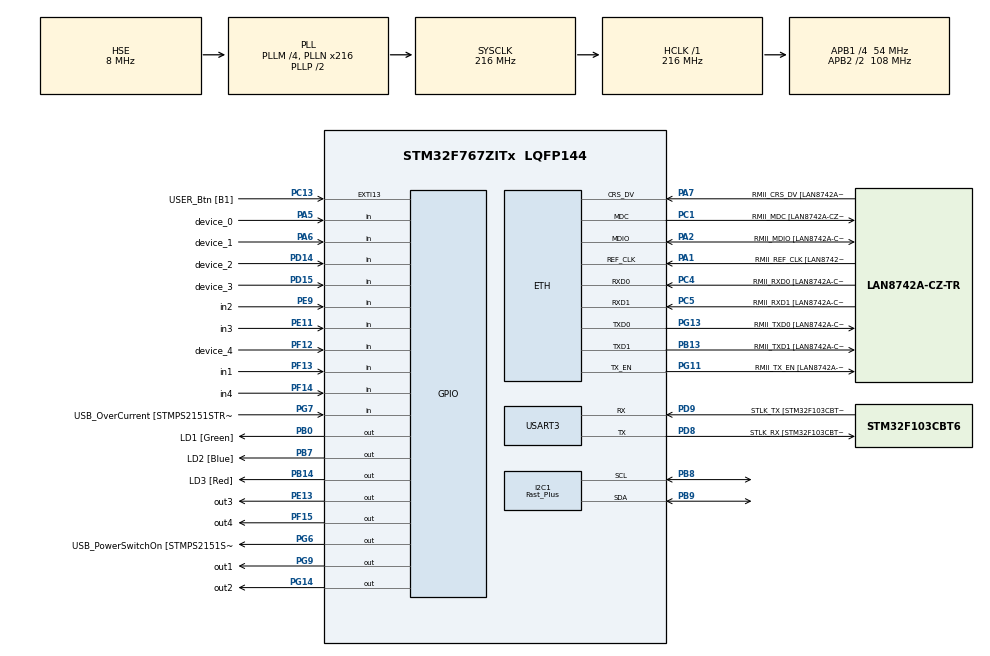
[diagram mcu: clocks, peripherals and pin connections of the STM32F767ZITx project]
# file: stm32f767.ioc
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I2C1.I2C_Speed_Mode=I2C_Fast_Plus
PB14.GPIO_Label=LD3 [Red]
PG6.GPIO_Label=USB_PowerSwitchOn [STMPS2151STR_EN]
PA14.GPIO_Label=TCK
PA6.GPIO_Label=device_1
PC5.Mode=RMII
LWIP.LWIP_COMPAT_SOCKETS=0
PB13.Signal=ETH_TXD1
PG13.Signal=ETH_TXD0
RCC.SYSCLKSource=RCC_SYSCLKSOURCE_PLLCLK
LWIP.NETMASK_ADDRESS=255.255.255.000
USART3.VirtualMode-Asynchronous=VM_ASYNC
RCC.APB2TimFreq_Value=216000000
PH1/OSC_OUT.Signal=RCC_OSC_OUT
PD8.Signal=USART3_TX
LWIP.LWIP_SOCKET_OFFSET=1
PF12.GPIO_Label=device_4
PC4.GPIO_Label=RMII_RXD0 [LAN8742A-CZ-TR_RXD0]
PE9.Signal=GPIO_Input
PA8.Signal=USB_OTG_FS_SOF
ETH.PHY_Name=LAN8742A_PHY_ADDRESS
Mcu.Package=LQFP144
PB9.Signal=I2C1_SDA
NVIC.TimeBase=TIM1_UP_TIM10_IRQn
NVIC.TimeBaseIP=TIM1
PA10.Signal=USB_OTG_FS_ID
RCC.APB2CLKDivider=RCC_HCLK_DIV2
PF14.Signal=GPIO_Input
RCC.APB1TimFreq_Value=108000000
PB13.Mode=RMII
PD15.Signal=GPIO_Input
PC4.Mode=RMII
LWIP.IP_ADDRESS=192.168.000.050
FREERTOS.Tasks01=defaultTask,24,2048,StartDefaultTask,Default,NULL,Dynamic,NULL,NULL;opcuaTask,16,8000,opcuaFunc,Default,NULL,Dynamic,NULL,NULL;ledTask,24,128,ledFunc,Default,NULL,Dynamic,NULL,NULL;displayTask,8,512,displayFunc,Default,NULL,Dynamic,NULL,NULL
PD9.GPIO_Label=STLK_TX [STM32F103CBT6_PA2]
PG9.Signal=GPIO_Output
PC13.Signal=GPXTI13
PA9.GPIO_Label=USB_VBUS
FREERTOS.configCHECK_FOR_STACK_OVERFLOW=1
PA11.GPIO_Label=USB_DM
PF14.GPIO_Label=in4
LWIP.LWIP_DHCP=0
RCC.APB1CLKDivider=RCC_HCLK_DIV4
PF13.GPIO_Label=in1
PG13.GPIO_Label=RMII_TXD0 [LAN8742A-CZ-TR_TXD0]
LWIP.DEFAULT_THREAD_STACKSIZE=4096
PA8.GPIO_Label=USB_SOF [TP1]
PA9.Signal=USB_OTG_FS_VBUS
I2C1.Timing=0x00200922
PE9.GPIO_Label=in2
PD8.Mode=Asynchronous
PB14.Signal=GPIO_Output
PA5.Signal=GPIO_Input
PA1.Mode=RMII
RCC.PRESCALERUSB=RCC_USBCLKSOURCE_PLL_DIV1_5
PG7.GPIO_Label=USB_OverCurrent [STMPS2151STR_FAULT]
PA1.GPIO_Label=RMII_REF_CLK [LAN8742A-CZ-TR_REFCLK0]
PF13.Signal=GPIO_Input
LWIP.SO_REUSE=1
PA13.Mode=Serial_Wire
PG14.GPIO_Label=out2
ETH.MediaInterface=ETH_MEDIA_INTERFACE_RMII
PE13.GPIO_Label=out3
PA5.GPIO_Label=device_0
PG11.Mode=RMII
PA11.Signal=USB_OTG_FS_DM
ProjectManager.HeapSize=0x200
LWIP.Version=v2.1.2_Cube
NVIC.TIM1_UP_TIM10_IRQn=true\:0\:0\:false\:false\:true\:false\:false\:true
NVIC.PriorityGroup=NVIC_PRIORITYGROUP_4
PB8.Mode=I2C
PC15/OSC32_OUT.Signal=RCC_OSC32_OUT
PB0.Signal=GPIO_Output
PC1.Signal=ETH_MDC
PC1.Mode=RMII
Mcu.Family=STM32F7
RCC.CortexFreq_Value=216000000
PG6.Signal=GPIO_Output
PE11.GPIO_Label=in3
RCC.SYSCLKSourceVirtual=RCC_SYSCLKSOURCE_PLLCLK
PB0.GPIO_Label=LD1 [Green]
PC14/OSC32_IN.Mode=LSE-External-Oscillator
PC13.GPIO_Label=USER_Btn [B1]
PB13.GPIO_Label=RMII_TXD1 [LAN8742A-CZ-TR_TXD1]
PD9.Mode=Asynchronous
PG11.Signal=ETH_TX_EN
ProjectManager.StackSize=0x400
VP_FREERTOS_VS_CMSIS_V2.Mode=CMSIS_V2
PA12.Signal=USB_OTG_FS_DP
Mcu.UserConstants=LWIP_TIMEVAL_PRIVATE,0
ETH.PHY_Value=0
PH0/OSC_IN.Mode=HSE-External-Clock-Source
RCC.HCLKFreq_Value=216000000
PF12.Signal=GPIO_Input
FREERTOS.configUSE_MALLOC_FAILED_HOOK=1
RCC.AHBFreq_Value=216000000
NVIC.ETH_IRQn=true\:6\:0\:true\:false\:true\:false\:false\:true
RCC.HSE_VALUE=8000000
LWIP.LWIP_SNMP=0
RCC.PLLMUL=RCC_PLL_MUL9
PE13.Signal=GPIO_Output
PA14.Mode=Serial_Wire
VP_SYS_VS_tim1.Mode=TIM1
PA10.GPIO_Label=USB_ID
PB7.Signal=GPIO_Output
PG13.Mode=RMII
PH1/OSC_OUT.Mode=HSE-External-Clock-Source
FREERTOS.configTOTAL_HEAP_SIZE=256000
PB7.GPIO_Label=LD2 [Blue]
PA6.Signal=GPIO_Input
PC14/OSC32_IN.Signal=RCC_OSC32_IN
PA2.GPIO_Label=RMII_MDIO [LAN8742A-CZ-TR_MDIO]
PG11.GPIO_Label=RMII_TX_EN [LAN8742A-CZ-TR_TXEN]
PC5.Signal=ETH_RXD1
PB3.GPIO_Label=SWO
RCC.PLLSourceVirtual=RCC_PLLSOURCE_HSE
PD15.GPIO_Label=device_3
PA7.Mode=RMII
PG7.Signal=GPIO_Input
PC4.Signal=ETH_RXD0
PD9.Signal=USART3_RX
ETH.PhyAddress=0
PA12.GPIO_Label=USB_DP
VP_LWIP_VS_Enabled.Mode=Enabled
LWIP.LWIP_DNS=1
PD8.GPIO_Label=STLK_RX [STM32F103CBT6_PA3]
PA13.Signal=SYS_JTMS-SWDIO
CORTEX_M7.MPU_Control=__NULL
ProjectManager.TargetToolchain=STM32CubeIDE
LWIP.LWIP_SNTP=0
LWIP.TCPIP_THREAD_STACKSIZE=4096
PB9.Mode=I2C
RCC.USBFreq_Value=48000000
PE11.Signal=GPIO_Input
PA1.Signal=ETH_REF_CLK
PG9.GPIO_Label=out1
PG14.Signal=GPIO_Output
board=NUCLEO-F767ZI
RCC.VCOOutputFreq_Value=432000000
PH0/OSC_IN.Signal=RCC_OSC_IN
RCC.APB2Freq_Value=108000000
LWIP.LWIP_SMTP=0
PC1.GPIO_Label=RMII_MDC [LAN8742A-CZ-TR_MDC]
PF15.GPIO_Label=out4
PF15.Signal=GPIO_Output
PD14.GPIO_Label=device_2
Mcu.Name=STM32F767ZITx
PA2.Signal=ETH_MDIO
PA13.GPIO_Label=TMS
PD14.Signal=GPIO_Input
RCC.48MHZClocksFreq_Value=24000000
PB3.Signal=SYS_JTDO-SWO
RCC.SYSCLKFreq_VALUE=216000000
PA7.GPIO_Label=RMII_CRS_DV [LAN8742A-CZ-TR_CRS_DV]
PC5.GPIO_Label=RMII_RXD1 [LAN8742A-CZ-TR_RXD1]
PC15/OSC32_OUT.Mode=LSE-External-Oscillator
PA14.Signal=SYS_JTCK-SWCLK
RCC.HSI_VALUE=16000000
PH0/OSC_IN.GPIO_Label=MCO [STM32F103CBT6_PA8]
RCC.PLLQ=9
RCC.PLLM=4
RCC.PLLN=216
PA2.Mode=RMII
PB8.Signal=I2C1_SCL
RCC.APB1Freq_Value=54000000
PA7.Signal=ETH_CRS_DV

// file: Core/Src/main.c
/* USER CODE BEGIN Header */
/**
  ******************************************************************************
  * @file           : main.c
  * @brief          : Main program body
  ******************************************************************************
  * @attention
  *
  * <h2><center>&copy; Copyright (c) 2020 STMicroelectronics.
  * All rights reserved.</center></h2>
  *
  * This software component is licensed by ST under BSD 3-Clause license,
  * the "License"; You may not use this file except in compliance with the
  * License. You may obtain a copy of the License at:
  *                        opensource.org/licenses/BSD-3-Clause
  *
  ******************************************************************************
  */
/* USER CODE END Header */
#include "main.h"
#include "cmsis_os.h"
#include "lwip.h"

/* USER CODE BEGIN Includes */
#include <errno.h>
#include <stdio.h>
#include <stdlib.h>
#include <sys/unistd.h>
#include "open62541.h"

#include "u8g2.h"
#include "u8x8_stm32_HAL.h"
/* USER CODE END Includes */

I2C_HandleTypeDef hi2c1;

UART_HandleTypeDef huart3;

/* Definitions for defaultTask */
osThreadId_t defaultTaskHandle;
const osThreadAttr_t defaultTask_attributes = {
  .name = "defaultTask",
  .priority = (osPriority_t) osPriorityNormal,
  .stack_size = 2048 * 4
};
/* Definitions for opcuaTask */
osThreadId_t opcuaTaskHandle;
const osThreadAttr_t opcuaTask_attributes = {
  .name = "opcuaTask",
  .priority = (osPriority_t) osPriorityBelowNormal,
  .stack_size = 8000 * 4
};
/* Definitions for ledTask */
osThreadId_t ledTaskHandle;
const osThreadAttr_t ledTask_attributes = {
  .name = "ledTask",
  .priority = (osPriority_t) osPriorityNormal,
  .stack_size = 128 * 4
};
/* Definitions for displayTask */
osThreadId_t displayTaskHandle;
const osThreadAttr_t displayTask_attributes = {
  .name = "displayTask",
  .priority = (osPriority_t) osPriorityLow,
  .stack_size = 512 * 4
};
/* USER CODE BEGIN PV */
static UA_Boolean running = true; // OPA-UA running

// OPC-UA Login data
static UA_UsernamePasswordLogin logins[2] = {
    {UA_STRING_STATIC("admin"), UA_STRING_STATIC("admin")},
    {UA_STRING_STATIC("root"), UA_STRING_STATIC("root")}
};

static u8g2_t u8g2; // for OLED display

extern uint8_t IP_ADDRESS[4]; // IP Address
/* USER CODE END PV */

void SystemClock_Config(void);
static void MX_GPIO_Init(void);
static void MX_USART3_UART_Init(void);
static void MX_I2C1_Init(void);
void StartDefaultTask(void *argument);
void opcuaFunc(void *argument);
void ledFunc(void *argument);
void displayFunc(void *argument);

/* USER CODE BEGIN 0 */

unsigned int deviceID = 0;

/**
  * @brief  Define the printf function.
  * @retval HAL_OK
  */
int _write(int file, char * data, int len) {
    if ((file != STDOUT_FILENO) && (file != STDERR_FILENO)) {
        errno = EBADF;
        return -1;
    }

    // arbitrary timeout 1
    HAL_StatusTypeDef status = HAL_OK;
    status = HAL_UART_Transmit( & huart3, (uint8_t * ) data, len, 100);

    // return # of bytes written - as best we can tell
    return (status == HAL_OK ? len : 0);
}

/* Function which responds for drawing  */
void u8g2_prepare()
{
    u8g2_SetFont(&u8g2, u8g2_font_profont10_tf);
    u8g2_SetFontRefHeightExtendedText(&u8g2);
    u8g2_SetDrawColor(&u8g2, 1);
    u8g2_SetFontPosTop(&u8g2);
    u8g2_SetFontDirection(&u8g2, 0);
}

void u8g2_disc_circle(uint8_t shift){
    char message[64];
    u8g2_SetFont(&u8g2, u8g2_font_profont15_tf);
    u8g2_DrawStr(&u8g2, 0, 0, "OPC/UA RemoteIO");
    u8g2_SetFont(&u8g2, u8g2_font_profont10_tf);
    snprintf(message, sizeof(message), "IP:      %03d.%03d.%03d.%03d",
	    IP_ADDRESS[0], IP_ADDRESS[1], IP_ADDRESS[2], IP_ADDRESS[3]);
    u8g2_DrawStr(&u8g2, 10, 15, message);
    snprintf(message, sizeof(message), "INPUTs:  %1d %1d %1d %1d",
	    HAL_GPIO_ReadPin(in1_GPIO_Port, in1_Pin),
	    HAL_GPIO_ReadPin(in2_GPIO_Port, in2_Pin),
	    HAL_GPIO_ReadPin(in3_GPIO_Port, in3_Pin),
	    HAL_GPIO_ReadPin(in4_GPIO_Port, in4_Pin));
   u8g2_DrawStr(&u8g2, 10, 25, message);
   snprintf(message, sizeof(message), "OUTPUTs: %1d %1d %1d %1d",
	    HAL_GPIO_ReadPin(out1_GPIO_Port, out1_Pin),
	    HAL_GPIO_ReadPin(out2_GPIO_Port, out2_Pin),
	    HAL_GPIO_ReadPin(out3_GPIO_Port, out3_Pin),
	    HAL_GPIO_ReadPin(out4_GPIO_Port, out4_Pin));
    u8g2_DrawStr(&u8g2, 10, 35, message);
    u8g2_DrawCircle(&u8g2,0+shift,20+32,2,U8G2_DRAW_ALL);
    u8g2_DrawCircle(&u8g2,5+shift,20+32,2,U8G2_DRAW_ALL);
    u8g2_DrawCircle(&u8g2,10+shift,20+32,2,U8G2_DRAW_ALL);
}

uint8_t max = 150;
uint8_t step = 0;
uint8_t picture =0;

void draw(void)
{
    u8g2_prepare();
    u8g2_disc_circle(step);
}

static void
addVariable(UA_Server *server) {
    /* Define the attribute of the myInteger variable node */
    UA_VariableAttributes attr = UA_VariableAttributes_default;
    UA_Int32 myInteger = 42;
    UA_Variant_setScalar(&attr.value, &myInteger, &UA_TYPES[UA_TYPES_INT32]);
    attr.description = UA_LOCALIZEDTEXT("en-US","STM32 OPC-UA Server");
    attr.displayName = UA_LOCALIZEDTEXT("en-US","STM32 OPC-UA Server");
    attr.dataType = UA_TYPES[UA_TYPES_INT32].typeId;
    attr.accessLevel = UA_ACCESSLEVELMASK_READ | UA_ACCESSLEVELMASK_WRITE;

    /* Add the variable node to the information model */
    UA_NodeId myIntegerNodeId = UA_NODEID_STRING(1, "stm32.opcua.server");
    UA_QualifiedName myIntegerName = UA_QUALIFIEDNAME(1, "stm32.opcua.server");
    UA_NodeId parentNodeId = UA_NODEID_NUMERIC(0, UA_NS0ID_OBJECTSFOLDER);
    UA_NodeId parentReferenceNodeId = UA_NODEID_NUMERIC(0, UA_NS0ID_ORGANIZES);
    UA_Server_addVariableNode(server, myIntegerNodeId, parentNodeId,
                              parentReferenceNodeId, myIntegerName,
                              UA_NODEID_NULL, attr, NULL, NULL);
}

/**
 * Now we change the value with the write service. This uses the same service
 * implementation that can also be reached over the network by an OPC UA client.
 */

static void
writeVariable(UA_Server *server) {
    UA_NodeId myIntegerNodeId = UA_NODEID_STRING(1, "stm32.opcua.server");

    /* Write a different integer value */
    UA_Int32 myInteger = 43;
    UA_Variant myVar;
    UA_Variant_init(&myVar);
    UA_Variant_setScalar(&myVar, &myInteger, &UA_TYPES[UA_TYPES_INT32]);
    UA_Server_writeValue(server, myIntegerNodeId, myVar);

    /* Set the status code of the value to an error code. The function
     * UA_Server_write provides access to the raw service. The above
     * UA_Server_writeValue is syntactic sugar for writing a specific node
     * attribute with the write service. */
    UA_WriteValue wv;
    UA_WriteValue_init(&wv);
    wv.nodeId = myIntegerNodeId;
    wv.attributeId = UA_ATTRIBUTEID_VALUE;
    wv.value.status = UA_STATUSCODE_BADNOTCONNECTED;
    wv.value.hasStatus = true;
    UA_Server_write(server, &wv);

    /* Reset the variable to a good statuscode with a value */
    wv.value.hasStatus = false;
    wv.value.value = myVar;
    wv.value.hasValue = true;
    UA_Server_write(server, &wv);
}

/* LED Method */

/**
  * @brief  Check the status of the RED LED
  * @retval UA_StatusCode
  */
UA_StatusCode
readLedRedState(UA_Server *server,
                const UA_NodeId *sessionId, void *sessionContext,
                const UA_NodeId *nodeId, void *nodeContext,
                UA_Boolean sourceTimeStamp, const UA_NumericRange *range,
                UA_DataValue *dataValue) {
    UA_Boolean ledred_State = HAL_GPIO_ReadPin(LD3_GPIO_Port, LD3_Pin);
    UA_Variant_setScalarCopy(&dataValue->value, &ledred_State,
                             &UA_TYPES[UA_TYPES_BOOLEAN]);
    dataValue->hasValue = true;
    return UA_STATUSCODE_GOOD;
}

/**
  * @brief  Check the status of Output 1
  * @retval UA_StatusCode
  */
UA_StatusCode
readOut1State(UA_Server *server,
                const UA_NodeId *sessionId, void *sessionContext,
                const UA_NodeId *nodeId, void *nodeContext,
                UA_Boolean sourceTimeStamp, const UA_NumericRange *range,
                UA_DataValue *dataValue) {
    UA_Boolean out1_State = HAL_GPIO_ReadPin(out1_GPIO_Port, out1_Pin);
    UA_Variant_setScalarCopy(&dataValue->value, &out1_State,
                             &UA_TYPES[UA_TYPES_BOOLEAN]);
    dataValue->hasValue = true;
    return UA_STATUSCODE_GOOD;
}

/**
  * @brief  Check the status of Output 2
  * @retval UA_StatusCode
  */
UA_StatusCode
readOut2State(UA_Server *server,
                const UA_NodeId *sessionId, void *sessionContext,
                const UA_NodeId *nodeId, void *nodeContext,
                UA_Boolean sourceTimeStamp, const UA_NumericRange *range,
                UA_DataValue *dataValue) {
    UA_Boolean out2_State = HAL_GPIO_ReadPin(out2_GPIO_Port, out2_Pin);
    UA_Variant_setScalarCopy(&dataValue->value, &out2_State,
                             &UA_TYPES[UA_TYPES_BOOLEAN]);
    dataValue->hasValue = true;
    return UA_STATUSCODE_GOOD;
}

/**
  * @brief  Check the status of Input 1
  * @retval UA_StatusCode
  */
UA_StatusCode
readIn1State(UA_Server *server,
                const UA_NodeId *sessionId, void *sessionContext,
                const UA_NodeId *nodeId, void *nodeContext,
                UA_Boolean sourceTimeStamp, const UA_NumericRange *range,
                UA_DataValue *dataValue) {
    UA_Boolean in1_State = HAL_GPIO_ReadPin(in1_GPIO_Port, in1_Pin);
    UA_Variant_setScalarCopy(&dataValue->value, &in1_State,
                             &UA_TYPES[UA_TYPES_BOOLEAN]);
    dataValue->hasValue = true;
    return UA_STATUSCODE_GOOD;
}

/**
  * @brief  Check the status of Input 2
  * @retval UA_StatusCode
  */
UA_StatusCode
readIn2State(UA_Server *server,
                const UA_NodeId *sessionId, void *sessionContext,
                const UA_NodeId *nodeId, void *nodeContext,
                UA_Boolean sourceTimeStamp, const UA_NumericRange *range,
                UA_DataValue *dataValue) {
    UA_Boolean in2_State = HAL_GPIO_ReadPin(in2_GPIO_Port, in2_Pin);
    UA_Variant_setScalarCopy(&dataValue->value, &in2_State,
                             &UA_TYPES[UA_TYPES_BOOLEAN]);
    dataValue->hasValue = true;
    return UA_STATUSCODE_GOOD;
}

/**
  * @brief  Set the RED LED
  * @retval UA_StatusCode
  */
UA_StatusCode
setLedRedState(UA_Server *server,
                  const UA_NodeId *sessionId, void *sessionContext,
                  const UA_NodeId *nodeId, void *nodeContext,
                 const UA_NumericRange *range, const UA_DataValue *data) {
    UA_Boolean currentState = HAL_GPIO_ReadPin(LD3_GPIO_Port, LD3_Pin);
    int level = currentState == true ? 0:1;
    HAL_GPIO_WritePin(LD3_GPIO_Port, LD3_Pin, level);
    UA_Boolean ledred_state_after_write = HAL_GPIO_ReadPin(LD3_GPIO_Port, LD3_Pin);
    UA_StatusCode status = ledred_state_after_write == level ? UA_STATUSCODE_GOOD : UA_STATUSCODE_BADINTERNALERROR;
    return status;
}

/**
  * @brief  Set Output 1
  * @retval UA_StatusCode
  */
UA_StatusCode
setOut1State(UA_Server *server,
                  const UA_NodeId *sessionId, void *sessionContext,
                  const UA_NodeId *nodeId, void *nodeContext,
                 const UA_NumericRange *range, const UA_DataValue *data) {
    //UA_Boolean currentState = HAL_GPIO_ReadPin(out1_GPIO_Port, out1_Pin);
    printf("\rOutput 1 will be set to %d\n", *(UA_Boolean*) data->value.data);
    if(*(UA_Boolean*) data->value.data == UA_TRUE){
        HAL_GPIO_WritePin(out1_GPIO_Port, out1_Pin, 1);
    }
    else if(*(UA_Boolean*) data->value.data == UA_FALSE){
        HAL_GPIO_WritePin(out1_GPIO_Port, out1_Pin, 0);
    }
    UA_Boolean out1_state_after_write = HAL_GPIO_ReadPin(out1_GPIO_Port, out1_Pin);
    UA_StatusCode status = out1_state_after_write == *(UA_Boolean*) data->value.data ? UA_STATUSCODE_GOOD : UA_STATUSCODE_BADINTERNALERROR;
    return status;
}

/**
  * @brief  Set Output 2
  * @retval UA_StatusCode
  */
UA_StatusCode
setOut2State(UA_Server *server,
                  const UA_NodeId *sessionId, void *sessionContext,
                  const UA_NodeId *nodeId, void *nodeContext,
                 const UA_NumericRange *range, const UA_DataValue *data) {
    //UA_Boolean currentState = HAL_GPIO_ReadPin(out2_GPIO_Port, out2_Pin);
    printf("\rOutput 2 will be set to %d\n", *(UA_Boolean*) data->value.data);
    if(*(UA_Boolean*) data->value.data == UA_TRUE){
        HAL_GPIO_WritePin(out2_GPIO_Port, out2_Pin, 1);
    }
    else if(*(UA_Boolean*) data->value.data == UA_FALSE){
        HAL_GPIO_WritePin(out2_GPIO_Port, out2_Pin, 0);
    }
    UA_Boolean out2_state_after_write = HAL_GPIO_ReadPin(out2_GPIO_Port, out2_Pin);
    UA_StatusCode status = out2_state_after_write == *(UA_Boolean*) data->value.data ? UA_STATUSCODE_GOOD : UA_STATUSCODE_BADINTERNALERROR;
    return status;
}

/**
  * @brief  Add the RED LED to the OPC-UA Node
  * @retval void
  */
void
addLedRedControlNode(UA_Server *server) {
    UA_VariableAttributes attr = UA_VariableAttributes_default;
    attr.displayName = UA_LOCALIZEDTEXT("en-US", "LED Red");
    attr.dataType = UA_TYPES[UA_TYPES_BOOLEAN].typeId;
    attr.accessLevel = UA_ACCESSLEVELMASK_READ | UA_ACCESSLEVELMASK_WRITE;

    UA_NodeId currentNodeId = UA_NODEID_STRING(1, "Control Red LED.");
    UA_QualifiedName currentName = UA_QUALIFIEDNAME(1, "Control Red LED.");
    UA_NodeId parentNodeId = UA_NODEID_NUMERIC(0, UA_NS0ID_OBJECTSFOLDER);
    UA_NodeId parentReferenceNodeId = UA_NODEID_NUMERIC(0, UA_NS0ID_ORGANIZES);
    UA_NodeId variableTypeNodeId = UA_NODEID_NUMERIC(0, UA_NS0ID_BASEDATAVARIABLETYPE);

    UA_DataSource ledred;
    ledred.read = readLedRedState;
    ledred.write = setLedRedState;
    UA_Server_addDataSourceVariableNode(server, currentNodeId, parentNodeId,
                                        parentReferenceNodeId, currentName,
                                        variableTypeNodeId, attr,
                                        ledred, NULL, NULL);
}

/**
  * @brief  Add Output 1 to the OPC-UA Node
  * @retval void
  */
void
addOut1ControlNode(UA_Server *server) {
    UA_VariableAttributes attr = UA_VariableAttributes_default;
    attr.displayName = UA_LOCALIZEDTEXT("en-US", "Output 1");
    attr.dataType = UA_TYPES[UA_TYPES_BOOLEAN].typeId;
    attr.accessLevel = UA_ACCESSLEVELMASK_READ | UA_ACCESSLEVELMASK_WRITE;

    UA_NodeId currentNodeId = UA_NODEID_STRING(1, "Control Output 1.");
    UA_QualifiedName currentName = UA_QUALIFIEDNAME(1, "Control Output 1.");
    UA_NodeId parentNodeId = UA_NODEID_NUMERIC(0, UA_NS0ID_OBJECTSFOLDER);
    UA_NodeId parentReferenceNodeId = UA_NODEID_NUMERIC(0, UA_NS0ID_ORGANIZES);
    UA_NodeId variableTypeNodeId = UA_NODEID_NUMERIC(0, UA_NS0ID_BASEDATAVARIABLETYPE);

    UA_DataSource out1;
    out1.read = readOut1State;
    out1.write = setOut1State;
    UA_Server_addDataSourceVariableNode(server, currentNodeId, parentNodeId,
                                        parentReferenceNodeId, currentName,
                                        variableTypeNodeId, attr,
                                        out1, NULL, NULL);
}

/**
  * @brief  Add Output 2 to the OPC-UA Node
  * @retval void
  */
void
addOut2ControlNode(UA_Server *server) {
    UA_VariableAttributes attr = UA_VariableAttributes_default;
    attr.displayName = UA_LOCALIZEDTEXT("en-US", "Output 2");
    attr.dataType = UA_TYPES[UA_TYPES_BOOLEAN].typeId;
    attr.accessLevel = UA_ACCESSLEVELMASK_READ | UA_ACCESSLEVELMASK_WRITE;

    UA_NodeId currentNodeId = UA_NODEID_STRING(1, "Control Output 2.");
    UA_QualifiedName currentName = UA_QUALIFIEDNAME(1, "Control Output 2.");
    UA_NodeId parentNodeId = UA_NODEID_NUMERIC(0, UA_NS0ID_OBJECTSFOLDER);
    UA_NodeId parentReferenceNodeId = UA_NODEID_NUMERIC(0, UA_NS0ID_ORGANIZES);
    UA_NodeId variableTypeNodeId = UA_NODEID_NUMERIC(0, UA_NS0ID_BASEDATAVARIABLETYPE);

    UA_DataSource out2;
    out2.read = readOut2State;
    out2.write = setOut2State;
    UA_Server_addDataSourceVariableNode(server, currentNodeId, parentNodeId,
                                        parentReferenceNodeId, currentName,
                                        variableTypeNodeId, attr,
                                        out2, NULL, NULL);
}

/**
  * @brief  Add Input 1 to the OPC-UA Node
  * @retval void
  */
void
addIn1ControlNode(UA_Server *server) {
    UA_VariableAttributes attr = UA_VariableAttributes_default;
    attr.displayName = UA_LOCALIZEDTEXT("en-US", "Input 1");
    attr.dataType = UA_TYPES[UA_TYPES_BOOLEAN].typeId;
    attr.accessLevel = UA_ACCESSLEVELMASK_READ;

    UA_NodeId currentNodeId = UA_NODEID_STRING(1, "Read Input 1.");
    UA_QualifiedName currentName = UA_QUALIFIEDNAME(1, "Read Input 1.");
    UA_NodeId parentNodeId = UA_NODEID_NUMERIC(0, UA_NS0ID_OBJECTSFOLDER);
    UA_NodeId parentReferenceNodeId = UA_NODEID_NUMERIC(0, UA_NS0ID_ORGANIZES);
    UA_NodeId variableTypeNodeId = UA_NODEID_NUMERIC(0, UA_NS0ID_BASEDATAVARIABLETYPE);

    UA_DataSource in1;
    in1.read = readIn1State;
    UA_Server_addDataSourceVariableNode(server, currentNodeId, parentNodeId,
                                        parentReferenceNodeId, currentName,
                                        variableTypeNodeId, attr,
                                        in1, NULL, NULL);
}

/**
  * @brief  Add Input 2 to the OPC-UA Node
  * @retval void
  */
void
addIn2ControlNode(UA_Server *server) {
    UA_VariableAttributes attr = UA_VariableAttributes_default;
    attr.displayName = UA_LOCALIZEDTEXT("en-US", "Input 2");
    attr.dataType = UA_TYPES[UA_TYPES_BOOLEAN].typeId;
    attr.accessLevel = UA_ACCESSLEVELMASK_READ;

    UA_NodeId currentNodeId = UA_NODEID_STRING(1, "Read Input 2.");
    UA_QualifiedName currentName = UA_QUALIFIEDNAME(1, "Read Input 2.");
    UA_NodeId parentNodeId = UA_NODEID_NUMERIC(0, UA_NS0ID_OBJECTSFOLDER);
    UA_NodeId parentReferenceNodeId = UA_NODEID_NUMERIC(0, UA_NS0ID_ORGANIZES);
    UA_NodeId variableTypeNodeId = UA_NODEID_NUMERIC(0, UA_NS0ID_BASEDATAVARIABLETYPE);

    UA_DataSource in2;
    in2.read = readIn2State;
    UA_Server_addDataSourceVariableNode(server, currentNodeId, parentNodeId,
                                        parentReferenceNodeId, currentName,
                                        variableTypeNodeId, attr,
                                        in2, NULL, NULL);
}

/* Node features */
static UA_Boolean
allowAddNode(UA_Server *server, UA_AccessControl *ac,
             const UA_NodeId *sessionId, void *sessionContext,
             const UA_AddNodesItem *item) {
    printf("Called allowAddNode\n");
    return UA_TRUE;
}

static UA_Boolean
allowAddReference(UA_Server *server, UA_AccessControl *ac,
                  const UA_NodeId *sessionId, void *sessionContext,
                  const UA_AddReferencesItem *item) {
    printf("Called allowAddReference\n");
    return UA_TRUE;
}

static UA_Boolean
allowDeleteNode(UA_Server *server, UA_AccessControl *ac,
                const UA_NodeId *sessionId, void *sessionContext,
                const UA_DeleteNodesItem *item) {
    printf("Called allowDeleteNode\n");
    return UA_FALSE; // Do not allow deletion from client
}

static UA_Boolean
allowDeleteReference(UA_Server *server, UA_AccessControl *ac,
                     const UA_NodeId *sessionId, void *sessionContext,
                     const UA_DeleteReferencesItem *item) {
    printf("Called allowDeleteReference\n");
    return UA_TRUE;
}
/* USER CODE END 0 */

int main(void)
{

  /* MCU Configuration--------------------------------------------------------*/

  /* Reset of all peripherals, Initializes the Flash interface and the Systick. */
  HAL_Init();

  /* Configure the system clock */
  SystemClock_Config();

  /* Initialize all configured peripherals */
  MX_GPIO_Init();
  MX_USART3_UART_Init();
  MX_I2C1_Init();
  /* USER CODE BEGIN 2 */
  printf("\n\n\r+++++++++++++++++++++++++++++++++++++++\n");

  printf("\rBuild: %s %s\n", __DATE__, __TIME__);
  printf("\rInit done!\n");
  printf("\rWaiting for network switch...\n");

  if (HAL_GPIO_ReadPin(GPIOA, GPIO_PIN_5)) {
    printf("\rGPIO_PIN_A05 is high\n");
    deviceID += 1;
  }
  if (HAL_GPIO_ReadPin(GPIOA, GPIO_PIN_6)) {
    printf("\rGPIO_PIN_A06 is high\n");
    deviceID += 2;
  }
  if (HAL_GPIO_ReadPin(GPIOD, GPIO_PIN_14)) {
    printf("\rGPIO_PIN_D14 is high\n");
    deviceID += 4;
  }
  if (HAL_GPIO_ReadPin(GPIOD, GPIO_PIN_15)) {
    printf("\rGPIO_PIN_D15 is high\n");
    deviceID += 8;
  }
  if (HAL_GPIO_ReadPin(GPIOF, GPIO_PIN_12)) {
    printf("\rGPIO_PIN_F12 is high\n");
    deviceID += 16;
  }

  if ((deviceID == 0) || (deviceID == 31)) {
    printf("\rError: No shield connected!\n");
  }
  printf("\rDeviceID: %u\n", (unsigned int) deviceID);
  printf("\rDeviceSE: %u\n", (unsigned int) HAL_GetDEVID);
  /* USER CODE END 2 */

  /* Init scheduler */
  osKernelInitialize();

  /* USER CODE BEGIN RTOS_MUTEX */
  HAL_Delay(30000);
  /* add mutexes, ... */
  /* USER CODE END RTOS_MUTEX */

  /* Create the thread(s) */
  /* creation of defaultTask */
  defaultTaskHandle = osThreadNew(StartDefaultTask, NULL, &defaultTask_attributes);

  /* creation of opcuaTask */
  opcuaTaskHandle = osThreadNew(opcuaFunc, NULL, &opcuaTask_attributes);

  /* creation of ledTask */
  ledTaskHandle = osThreadNew(ledFunc, NULL, &ledTask_attributes);

  /* creation of displayTask */
  displayTaskHandle = osThreadNew(displayFunc, NULL, &displayTask_attributes);

  /* Start scheduler */
  osKernelStart();

  /* We should never get here as control is now taken by the scheduler */
  /* Infinite loop */
  while (1)
  {

  }
}

void SystemClock_Config(void)
{
  RCC_OscInitTypeDef RCC_OscInitStruct = {0};
  RCC_ClkInitTypeDef RCC_ClkInitStruct = {0};
  RCC_PeriphCLKInitTypeDef PeriphClkInitStruct = {0};

  /** Configure LSE Drive Capability
  */
  HAL_PWR_EnableBkUpAccess();
  /** Configure the main internal regulator output voltage
  */
  __HAL_RCC_PWR_CLK_ENABLE();
  __HAL_PWR_VOLTAGESCALING_CONFIG(PWR_REGULATOR_VOLTAGE_SCALE1);
  /** Initializes the RCC Oscillators according to the specified parameters
  * in the RCC_OscInitTypeDef structure.
  */
  RCC_OscInitStruct.OscillatorType = RCC_OSCILLATORTYPE_HSE;
  RCC_OscInitStruct.HSEState = RCC_HSE_BYPASS;
  RCC_OscInitStruct.PLL.PLLState = RCC_PLL_ON;
  RCC_OscInitStruct.PLL.PLLSource = RCC_PLLSOURCE_HSE;
  RCC_OscInitStruct.PLL.PLLM = 4;
  RCC_OscInitStruct.PLL.PLLN = 216;
  RCC_OscInitStruct.PLL.PLLP = RCC_PLLP_DIV2;
  RCC_OscInitStruct.PLL.PLLQ = 9;
  if (HAL_RCC_OscConfig(&RCC_OscInitStruct) != HAL_OK)
  {
    Error_Handler();
  }
  /** Activate the Over-Drive mode
  */
  if (HAL_PWREx_EnableOverDrive() != HAL_OK)
  {
    Error_Handler();
  }
  /** Initializes the CPU, AHB and APB buses clocks
  */
  RCC_ClkInitStruct.ClockType = RCC_CLOCKTYPE_HCLK|RCC_CLOCKTYPE_SYSCLK
                              |RCC_CLOCKTYPE_PCLK1|RCC_CLOCKTYPE_PCLK2;
  RCC_ClkInitStruct.SYSCLKSource = RCC_SYSCLKSOURCE_PLLCLK;
  RCC_ClkInitStruct.AHBCLKDivider = RCC_SYSCLK_DIV1;
  RCC_ClkInitStruct.APB1CLKDivider = RCC_HCLK_DIV4;
  RCC_ClkInitStruct.APB2CLKDivider = RCC_HCLK_DIV2;

  if (HAL_RCC_ClockConfig(&RCC_ClkInitStruct, FLASH_LATENCY_7) != HAL_OK)
  {
    Error_Handler();
  }
  PeriphClkInitStruct.PeriphClockSelection = RCC_PERIPHCLK_USART3|RCC_PERIPHCLK_I2C1;
  PeriphClkInitStruct.Usart3ClockSelection = RCC_USART3CLKSOURCE_PCLK1;
  PeriphClkInitStruct.I2c1ClockSelection = RCC_I2C1CLKSOURCE_PCLK1;
  if (HAL_RCCEx_PeriphCLKConfig(&PeriphClkInitStruct) != HAL_OK)
  {
    Error_Handler();
  }
}

static void MX_I2C1_Init(void)
{

  hi2c1.Instance = I2C1;
  hi2c1.Init.Timing = 0x00200922;
  hi2c1.Init.OwnAddress1 = 0;
  hi2c1.Init.AddressingMode = I2C_ADDRESSINGMODE_7BIT;
  hi2c1.Init.DualAddressMode = I2C_DUALADDRESS_DISABLE;
  hi2c1.Init.OwnAddress2 = 0;
  hi2c1.Init.OwnAddress2Masks = I2C_OA2_NOMASK;
  hi2c1.Init.GeneralCallMode = I2C_GENERALCALL_DISABLE;
  hi2c1.Init.NoStretchMode = I2C_NOSTRETCH_DISABLE;
  if (HAL_I2C_Init(&hi2c1) != HAL_OK)
  {
    Error_Handler();
  }
  /** Configure Analogue filter
  */
  if (HAL_I2CEx_ConfigAnalogFilter(&hi2c1, I2C_ANALOGFILTER_ENABLE) != HAL_OK)
  {
    Error_Handler();
  }
  /** Configure Digital filter
  */
  if (HAL_I2CEx_ConfigDigitalFilter(&hi2c1, 0) != HAL_OK)
  {
    Error_Handler();
  }
  /** I2C Enable Fast Mode Plus
  */
  HAL_I2CEx_EnableFastModePlus(I2C_FASTMODEPLUS_I2C1);

}

static void MX_USART3_UART_Init(void)
{

  huart3.Instance = USART3;
  huart3.Init.BaudRate = 115200;
  huart3.Init.WordLength = UART_WORDLENGTH_8B;
  huart3.Init.StopBits = UART_STOPBITS_1;
  huart3.Init.Parity = UART_PARITY_NONE;
  huart3.Init.Mode = UART_MODE_TX_RX;
  huart3.Init.HwFlowCtl = UART_HWCONTROL_NONE;
  huart3.Init.OverSampling = UART_OVERSAMPLING_16;
  huart3.Init.OneBitSampling = UART_ONE_BIT_SAMPLE_DISABLE;
  huart3.AdvancedInit.AdvFeatureInit = UART_ADVFEATURE_NO_INIT;
  if (HAL_UART_Init(&huart3) != HAL_OK)
  {
    Error_Handler();
  }

}

static void MX_GPIO_Init(void)
{
  GPIO_InitTypeDef GPIO_InitStruct = {0};

  /* GPIO Ports Clock Enable */
  __HAL_RCC_GPIOC_CLK_ENABLE();
  __HAL_RCC_GPIOH_CLK_ENABLE();
  __HAL_RCC_GPIOA_CLK_ENABLE();
  __HAL_RCC_GPIOB_CLK_ENABLE();
  __HAL_RCC_GPIOF_CLK_ENABLE();
  __HAL_RCC_GPIOE_CLK_ENABLE();
  __HAL_RCC_GPIOD_CLK_ENABLE();
  __HAL_RCC_GPIOG_CLK_ENABLE();

  /*Configure GPIO pin Output Level */
  HAL_GPIO_WritePin(GPIOB, LD1_Pin|LD3_Pin|LD2_Pin, GPIO_PIN_RESET);

  /*Configure GPIO pin Output Level */
  HAL_GPIO_WritePin(out4_GPIO_Port, out4_Pin, GPIO_PIN_RESET);

  /*Configure GPIO pin Output Level */
  HAL_GPIO_WritePin(out3_GPIO_Port, out3_Pin, GPIO_PIN_RESET);

  /*Configure GPIO pin Output Level */
  HAL_GPIO_WritePin(GPIOG, USB_PowerSwitchOn_Pin|out1_Pin|out2_Pin, GPIO_PIN_RESET);

  /*Configure GPIO pin : USER_Btn_Pin */
  GPIO_InitStruct.Pin = USER_Btn_Pin;
  GPIO_InitStruct.Mode = GPIO_MODE_IT_RISING;
  GPIO_InitStruct.Pull = GPIO_NOPULL;
  HAL_GPIO_Init(USER_Btn_GPIO_Port, &GPIO_InitStruct);

  /*Configure GPIO pins : device_0_Pin device_1_Pin */
  GPIO_InitStruct.Pin = device_0_Pin|device_1_Pin;
  GPIO_InitStruct.Mode = GPIO_MODE_INPUT;
  GPIO_InitStruct.Pull = GPIO_NOPULL;
  HAL_GPIO_Init(GPIOA, &GPIO_InitStruct);

  /*Configure GPIO pins : LD1_Pin LD3_Pin LD2_Pin */
  GPIO_InitStruct.Pin = LD1_Pin|LD3_Pin|LD2_Pin;
  GPIO_InitStruct.Mode = GPIO_MODE_OUTPUT_PP;
  GPIO_InitStruct.Pull = GPIO_NOPULL;
  GPIO_InitStruct.Speed = GPIO_SPEED_FREQ_LOW;
  HAL_GPIO_Init(GPIOB, &GPIO_InitStruct);

  /*Configure GPIO pins : device_4_Pin in1_Pin in4_Pin */
  GPIO_InitStruct.Pin = device_4_Pin|in1_Pin|in4_Pin;
  GPIO_InitStruct.Mode = GPIO_MODE_INPUT;
  GPIO_InitStruct.Pull = GPIO_NOPULL;
  HAL_GPIO_Init(GPIOF, &GPIO_InitStruct);

  /*Configure GPIO pin : out4_Pin */
  GPIO_InitStruct.Pin = out4_Pin;
  GPIO_InitStruct.Mode = GPIO_MODE_OUTPUT_PP;
  GPIO_InitStruct.Pull = GPIO_NOPULL;
  GPIO_InitStruct.Speed = GPIO_SPEED_FREQ_LOW;
  HAL_GPIO_Init(out4_GPIO_Port, &GPIO_InitStruct);

  /*Configure GPIO pins : in2_Pin in3_Pin */
  GPIO_InitStruct.Pin = in2_Pin|in3_Pin;
  GPIO_InitStruct.Mode = GPIO_MODE_INPUT;
  GPIO_InitStruct.Pull = GPIO_NOPULL;
  HAL_GPIO_Init(GPIOE, &GPIO_InitStruct);

  /*Configure GPIO pin : out3_Pin */
  GPIO_InitStruct.Pin = out3_Pin;
  GPIO_InitStruct.Mode = GPIO_MODE_OUTPUT_PP;
  GPIO_InitStruct.Pull = GPIO_NOPULL;
  GPIO_InitStruct.Speed = GPIO_SPEED_FREQ_LOW;
  HAL_GPIO_Init(out3_GPIO_Port, &GPIO_InitStruct);

  /*Configure GPIO pins : device_2_Pin device_3_Pin */
  GPIO_InitStruct.Pin = device_2_Pin|device_3_Pin;
  GPIO_InitStruct.Mode = GPIO_MODE_INPUT;
  GPIO_InitStruct.Pull = GPIO_NOPULL;
  HAL_GPIO_Init(GPIOD, &GPIO_InitStruct);

  /*Configure GPIO pins : USB_PowerSwitchOn_Pin out1_Pin out2_Pin */
  GPIO_InitStruct.Pin = USB_PowerSwitchOn_Pin|out1_Pin|out2_Pin;
  GPIO_InitStruct.Mode = GPIO_MODE_OUTPUT_PP;
  GPIO_InitStruct.Pull = GPIO_NOPULL;
  GPIO_InitStruct.Speed = GPIO_SPEED_FREQ_LOW;
  HAL_GPIO_Init(GPIOG, &GPIO_InitStruct);

  /*Configure GPIO pin : USB_OverCurrent_Pin */
  GPIO_InitStruct.Pin = USB_OverCurrent_Pin;
  GPIO_InitStruct.Mode = GPIO_MODE_INPUT;
  GPIO_InitStruct.Pull = GPIO_NOPULL;
  HAL_GPIO_Init(USB_OverCurrent_GPIO_Port, &GPIO_InitStruct);

  /*Configure GPIO pins : USB_SOF_Pin USB_ID_Pin USB_DM_Pin USB_DP_Pin */
  GPIO_InitStruct.Pin = USB_SOF_Pin|USB_ID_Pin|USB_DM_Pin|USB_DP_Pin;
  GPIO_InitStruct.Mode = GPIO_MODE_AF_PP;
  GPIO_InitStruct.Pull = GPIO_NOPULL;
  GPIO_InitStruct.Speed = GPIO_SPEED_FREQ_VERY_HIGH;
  GPIO_InitStruct.Alternate = GPIO_AF10_OTG_FS;
  HAL_GPIO_Init(GPIOA, &GPIO_InitStruct);

  /*Configure GPIO pin : USB_VBUS_Pin */
  GPIO_InitStruct.Pin = USB_VBUS_Pin;
  GPIO_InitStruct.Mode = GPIO_MODE_INPUT;
  GPIO_InitStruct.Pull = GPIO_NOPULL;
  HAL_GPIO_Init(USB_VBUS_GPIO_Port, &GPIO_InitStruct);

}

void StartDefaultTask(void *argument)
{
  /* init code for LWIP */
  MX_LWIP_Init();
  /* USER CODE BEGIN 5 */
  printf("\rNetwork initialized!\n");
  /* Infinite loop */
  for(;;)
  {
    osDelay(1);
  }
  /* USER CODE END 5 */
}

void opcuaFunc(void *argument)
{
  /* USER CODE BEGIN opcuaFunc */
  osDelay(30000);
  printf("\rOPC-UA Function started!\n");
          //The default 64KB of memory for sending and receicing buffer caused problems to many users. With the code below, they are reduced to ~16KB
        UA_UInt32 sendBufferSize = 16000;       //64 KB is the regular buffer size
        UA_UInt32 recvBufferSize = 16000;       //64 KB is the regular buffer size
        UA_UInt16 portNumber = 4840;
        UA_StatusCode retval = UA_STATUSCODE_GOOD;

        UA_Server* mUaServer = UA_Server_new();
        UA_ServerConfig *uaServerConfig = UA_Server_getConfig(mUaServer);
        UA_ServerConfig_setMinimalCustomBuffer(uaServerConfig, portNumber, 0, sendBufferSize, recvBufferSize);

        //VERY IMPORTANT: Set the hostname with your IP before starting the server
        uint8_t ip;
        char buffer [15];
        ip = 50 + deviceID;
        snprintf ( buffer, sizeof(buffer), "192.168.0.%i", ip);
        UA_ServerConfig_setCustomHostname(uaServerConfig, UA_STRING(buffer));

        //The rest is the same as the example

        UA_Boolean running = true;

        /* Disable anonymous logins, enable two user/password logins */
        uaServerConfig->accessControl.clear(&uaServerConfig->accessControl);
        retval = UA_AccessControl_default(uaServerConfig, false,
             &uaServerConfig->securityPolicies[uaServerConfig->securityPoliciesSize-1].policyUri, 2, logins);
        if(retval != UA_STATUSCODE_GOOD)
            printf("\rLogins could not be set\n");

        /* Set accessControl functions for nodeManagement */
        uaServerConfig->accessControl.allowAddNode = allowAddNode;
        uaServerConfig->accessControl.allowAddReference = allowAddReference;
        uaServerConfig->accessControl.allowDeleteNode = allowDeleteNode;
        uaServerConfig->accessControl.allowDeleteReference = allowDeleteReference;

        // add a variable node to the addresspace
        addVariable(mUaServer);
        writeVariable(mUaServer);

        // add the red LED to the addressspace
        addLedRedControlNode(mUaServer);

        // add outputs to the addressspace
        addOut1ControlNode(mUaServer);
        addOut2ControlNode(mUaServer);

        // add inputs to the addressspace
        addIn1ControlNode(mUaServer);
        addIn2ControlNode(mUaServer);

        retval = UA_Server_run(mUaServer, &running);
        if (retval == UA_STATUSCODE_GOOD){
          while (running){
            UA_Server_run_iterate(mUaServer, false);
            taskYIELD();
          }
        }
        else{
              printf("\rProblem starting OPC-UA Server\n");
        }
        UA_Server_run_shutdown(mUaServer);

        UA_Server_delete(mUaServer);

  printf("\rOPC-UA Function terminated\n");
  /* USER CODE END opcuaFunc */
}

void ledFunc(void *argument)
{
  /* USER CODE BEGIN ledFunc */
  osDelay(10);
  printf("\rLED Toggle Task started\n");
  /* Infinite loop */
  for(;;)
  {
    HAL_GPIO_TogglePin(LD2_GPIO_Port, LD2_Pin);
	osDelay(100);
  }
  /* USER CODE END ledFunc */
}

void displayFunc(void *argument)
{
  /* USER CODE BEGIN displayFunc */
  osDelay(100);
  //u8g2_Setup_ssd1306_i2c_128x64_noname_1(&u8g2, U8G2_R0, u8x8_byte_hw_i2c, u8x8_stm32_gpio_and_delay_cb); // init u8g2 structure
  u8g2_Setup_sh1106_i2c_128x64_noname_1(&u8g2, U8G2_R0, u8x8_byte_hw_i2c, u8x8_stm32_gpio_and_delay_cb); // init u8g2 structure
  u8g2_InitDisplay(&u8g2); // send init sequence to the display, display is in sleep mode after this,
  u8g2_SetDisplayRotation(&u8g2, U8G2_R2);
  u8g2_SetPowerSave(&u8g2, 0); // wake up display
  /* Infinite loop */
  for(;;){
    u8g2_FirstPage(&u8g2);
    do{
      draw();
    }
    while ( u8g2_NextPage(&u8g2) ); // 8 times running

    if (step <= max)
      step += 3;
    else{
      step = 0;
      picture++;
      if ( picture >= 6)
        picture = 0;
    }

    osDelay(100);
  }
  /* USER CODE END displayFunc */
}

void HAL_TIM_PeriodElapsedCallback(TIM_HandleTypeDef *htim)
{
  if (htim->Instance == TIM1) {
    HAL_IncTick();
  }
}

void Error_Handler(void)
{
}

/************************ (C) COPYRIGHT STMicroelectronics *****END OF FILE****/

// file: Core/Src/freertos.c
/* USER CODE BEGIN Header */
/**
  ******************************************************************************
  * File Name          : freertos.c
  * Description        : Code for freertos applications
  ******************************************************************************
  * @attention
  *
  * <h2><center>&copy; Copyright (c) 2020 STMicroelectronics.
  * All rights reserved.</center></h2>
  *
  * This software component is licensed by ST under Ultimate Liberty license
  * SLA0044, the "License"; You may not use this file except in compliance with
  * the License. You may obtain a copy of the License at:
  *                             www.st.com/SLA0044
  *
  ******************************************************************************
  */
/* USER CODE END Header */

#include "FreeRTOS.h"
#include "task.h"
#include "main.h"

/* Hook prototypes */
void vApplicationStackOverflowHook(xTaskHandle xTask, signed char *pcTaskName);
void vApplicationMallocFailedHook(void);

/* USER CODE BEGIN 4 */
__weak void vApplicationStackOverflowHook(xTaskHandle xTask, signed char *pcTaskName)
{
   /* Run time stack overflow checking is performed if
   configCHECK_FOR_STACK_OVERFLOW is defined to 1 or 2. This hook function is
   called if a stack overflow is detected. */
}
/* USER CODE END 4 */

/* USER CODE BEGIN 5 */
__weak void vApplicationMallocFailedHook(void)
{
   /* vApplicationMallocFailedHook() will only be called if
   configUSE_MALLOC_FAILED_HOOK is set to 1 in FreeRTOSConfig.h. It is a hook
   function that will get called if a call to pvPortMalloc() fails.
   pvPortMalloc() is called internally by the kernel whenever a task, queue,
   timer or semaphore is created. It is also called by various parts of the
   demo application. If heap_1.c or heap_2.c are used, then the size of the
   heap available to pvPortMalloc() is defined by configTOTAL_HEAP_SIZE in
   FreeRTOSConfig.h, and the xPortGetFreeHeapSize() API function can be used
   to query the size of free heap space that remains (although it does not
   provide information on how the remaining heap might be fragmented). */
}
/* USER CODE END 5 */

/************************ (C) COPYRIGHT STMicroelectronics *****END OF FILE****/
